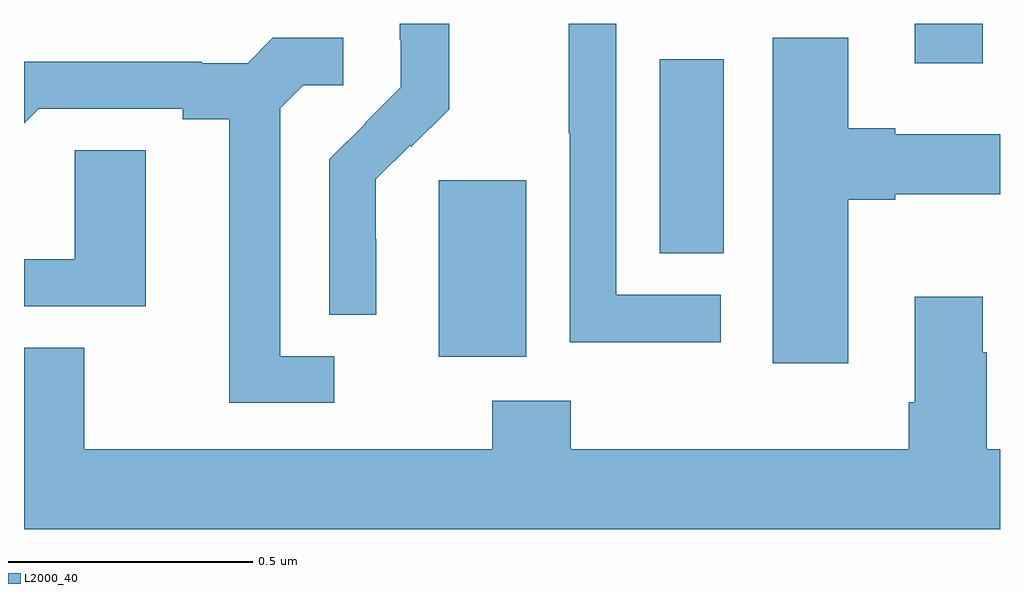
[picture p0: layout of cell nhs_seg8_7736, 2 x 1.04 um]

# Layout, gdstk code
import gdstk
lib = gdstk.Library(unit=1e-6, precision=1e-09)
def R(c, l, rs):  # rectangles x0, y0, x1, y1
    for r in rs: c.add(gdstk.rectangle(r[:2], r[2:], *l))
def P(c, l, *ps):  # polygons
    for p in ps: c.add(gdstk.Polygon(p, *l))
L2000_40 = (2000, 40)

nhs_seg8_7736 = lib.new_cell('nhs_seg8_7736')
R(nhs_seg8_7736, L2000_40, [(214.85,1086.218,215.029,1086.579), (215.303,1086.43,215.434,1086.827), (215.825,1086.819,215.965,1086.9)])
P(nhs_seg8_7736, L2000_40, [(214.722,1086.458),(214.721,1086.458),(214.721,1086.581),(214.791,1086.651),(214.794,1086.648),(214.871,1086.725),(214.871,1086.9),(214.77,1086.9),(214.77,1086.867),(214.772,1086.867),(214.772,1086.77),(214.698,1086.696),(214.699,1086.695),(214.626,1086.622),(214.626,1086.304),(214.722,1086.304)],
  [(215.428,1086.345),(215.214,1086.345),(215.214,1086.9),(215.116,1086.9),(215.116,1086.676),(215.118,1086.676),(215.118,1086.247),(215.428,1086.247)],
  [(214.636,1086.219),(214.525,1086.219),(214.525,1086.727),(214.572,1086.774),(214.654,1086.774),(214.654,1086.871),(214.51,1086.871),(214.458,1086.819),(214.364,1086.819),(214.364,1086.822),(214,1086.822),(214,1086.696),(214.03,1086.726),(214.325,1086.726),(214.325,1086.704),(214.421,1086.704),(214.421,1086.123),(214.636,1086.123)],
  [(215.689,1086.539),(215.785,1086.539),(215.785,1086.551),(216,1086.551),(216,1086.673),(215.785,1086.673),(215.785,1086.686),(215.689,1086.686),(215.689,1086.871),(215.534,1086.871),(215.534,1086.204),(215.689,1086.204)],
  [(214.249,1086.641),(214.104,1086.641),(214.104,1086.417),(214,1086.417),(214,1086.321),(214.249,1086.321)],
  [(216,1086.028),(215.973,1086.028),(215.973,1086.227),(215.965,1086.227),(215.965,1086.34),(215.825,1086.34),(215.825,1086.124),(215.813,1086.124),(215.813,1086.028),(215.12,1086.028),(215.12,1086.127),(214.96,1086.127),(214.96,1086.028),(214.123,1086.028),(214.123,1086.236),(214,1086.236),(214,1085.864),(216,1085.864)])

lib.write_gds('nhs_seg8_7736.gds')
